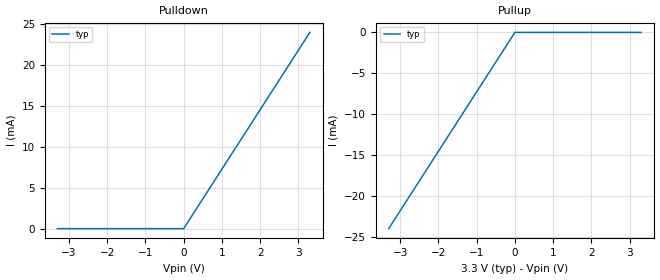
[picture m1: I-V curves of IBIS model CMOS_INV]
[IBIS Ver] 7.0
[File Name] sn74lvc1g04.ibs
[Component] SN74LVC1G04
[Manufacturer] Texas Instruments
[Package]
  R_pkg 0.1
  L_pkg 2nH
  C_pkg 1pF
[Pin] 1 2 3 4 5
  Signal_name GND VCC Y A NC
  Model_name GND POWER CMOS_INV CMOS_INV NC
| Models and submodels in the file (1): CMOS_INV (Input)
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[Model] CMOS_INV
  Model_type Input
  Vinl = 0.8V
  Vinh = 2.0V
  C_comp 3.5pF
  [Voltage Range] 3.3V 0V 3.3V
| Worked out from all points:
|   slope of the pulldown table from 0 to 0.495 V, typ, clamps not added: 138 ohm
  [Pullup]
   Voltage = 3.3V
-3.3V     -24mA      NA         NA
0V        0A         NA         NA
3.3V      0A         NA         NA
  [Pulldown]
   Voltage = 3.3V
-3.3V     0A         NA         NA
0V        0A         NA         NA
3.3V      24mA       NA         NA
  [Ramp]
   dV/dt_r 1.5/0.5ns
   dV/dt_f 1.5/0.5ns
